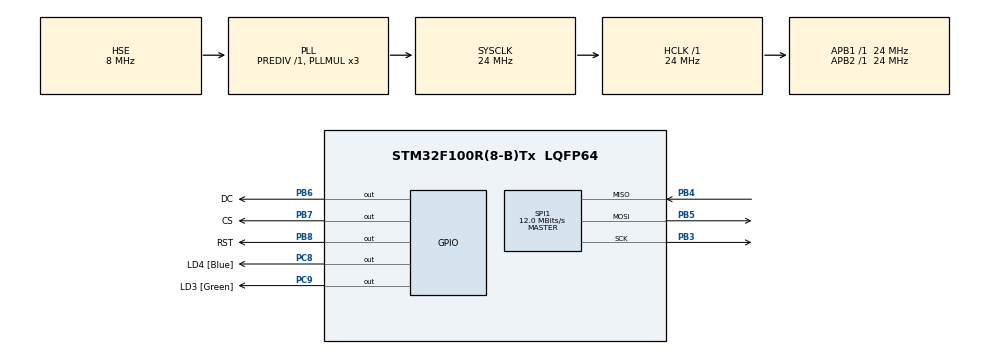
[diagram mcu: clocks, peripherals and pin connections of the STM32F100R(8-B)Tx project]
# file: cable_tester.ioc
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Mcu.Family=STM32F1
Mcu.Name=STM32F100R(8-B)Tx
Mcu.Package=LQFP64
NVIC.PriorityGroup=NVIC_PRIORITYGROUP_4
PA0-WKUP.Signal=SYS_WKUP
PA13.Mode=Serial_Wire
PA13.Signal=SYS_JTMS-SWDIO
PA14.GPIO_Label=TCK_SWCLK
PA14.Mode=Serial_Wire
PA14.Signal=SYS_JTCK-SWCLK
PB3.Mode=Full_Duplex_Master
PB3.Signal=SPI1_SCK
PB4.Mode=Full_Duplex_Master
PB4.Signal=SPI1_MISO
PB5.Mode=Full_Duplex_Master
PB5.Signal=SPI1_MOSI
PB6.GPIO_Label=DC
PB6.Signal=GPIO_Output
PB7.GPIO_Label=CS
PB7.Signal=GPIO_Output
PB8.GPIO_Label=RST
PB8.Signal=GPIO_Output
PC8.GPIO_Label=LD4 [Blue]
PC8.Signal=GPIO_Output
PC9.GPIO_Label=LD3 [Green]
PC9.Signal=GPIO_Output
PD0-OSC_IN.Mode=HSE-External-Oscillator
PD0-OSC_IN.Signal=RCC_OSC_IN
PD1-OSC_OUT.Mode=HSE-External-Oscillator
PD1-OSC_OUT.Signal=RCC_OSC_OUT
ProjectManager.HeapSize=0x200
ProjectManager.StackSize=0x400
ProjectManager.TargetToolchain=SW4STM32
RCC.AHBFreq_Value=24000000
RCC.APB1Freq_Value=24000000
RCC.APB1TimFreq_Value=24000000
RCC.APB2Freq_Value=24000000
RCC.APB2TimFreq_Value=24000000
RCC.HCLKFreq_Value=24000000
RCC.PLLMUL=RCC_PLL_MUL3
RCC.PLLSource=RCC_PLLSOURCE_HSE
RCC.SYSCLKFreq_VALUE=24000000
RCC.SYSCLKSource=RCC_SYSCLKSOURCE_PLLCLK
SPI1.BaudRatePrescaler=SPI_BAUDRATEPRESCALER_2
SPI1.CalculateBaudRate=12.0 MBits/s
SPI1.Direction=SPI_DIRECTION_2LINES
SPI1.FirstBit=SPI_FIRSTBIT_MSB
SPI1.Mode=SPI_MODE_MASTER
SPI1.VirtualType=VM_MASTER
board=STM32VLDISCOVERY

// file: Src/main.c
/**
  ******************************************************************************
  * File Name          : main.c
  * Description        : Main program body
  ******************************************************************************
  ** This notice applies to any and all portions of this file
  * that are not between comment pairs USER CODE BEGIN and
  * USER CODE END. Other portions of this file, whether
  * inserted by the user or by software development tools
  * are owned by their respective copyright owners.
  *
  * COPYRIGHT(c) 2018 STMicroelectronics
  *
  * Redistribution and use in source and binary forms, with or without modification,
  * are permitted provided that the following conditions are met:
  *   1. Redistributions of source code must retain the above copyright notice,
  *      this list of conditions and the following disclaimer.
  *   2. Redistributions in binary form must reproduce the above copyright notice,
  *      this list of conditions and the following disclaimer in the documentation
  *      and/or other materials provided with the distribution.
  *   3. Neither the name of STMicroelectronics nor the names of its contributors
  *      may be used to endorse or promote products derived from this software
  *      without specific prior written permission.
  *
  * THIS SOFTWARE IS PROVIDED BY THE COPYRIGHT HOLDERS AND CONTRIBUTORS "AS IS"
  * AND ANY EXPRESS OR IMPLIED WARRANTIES, INCLUDING, BUT NOT LIMITED TO, THE
  * IMPLIED WARRANTIES OF MERCHANTABILITY AND FITNESS FOR A PARTICULAR PURPOSE ARE
  * DISCLAIMED. IN NO EVENT SHALL THE COPYRIGHT HOLDER OR CONTRIBUTORS BE LIABLE
  * FOR ANY DIRECT, INDIRECT, INCIDENTAL, SPECIAL, EXEMPLARY, OR CONSEQUENTIAL
  * DAMAGES (INCLUDING, BUT NOT LIMITED TO, PROCUREMENT OF SUBSTITUTE GOODS OR
  * SERVICES; LOSS OF USE, DATA, OR PROFITS; OR BUSINESS INTERRUPTION) HOWEVER
  * CAUSED AND ON ANY THEORY OF LIABILITY, WHETHER IN CONTRACT, STRICT LIABILITY,
  * OR TORT (INCLUDING NEGLIGENCE OR OTHERWISE) ARISING IN ANY WAY OUT OF THE USE
  * OF THIS SOFTWARE, EVEN IF ADVISED OF THE POSSIBILITY OF SUCH DAMAGE.
  *
  ******************************************************************************
  */

#include "main.h"
#include "stm32f1xx_hal.h"
#include "ILI9341_STM32_Driver.h"
#include "ILI9341_GFX.h"
#include "stdio.h"

/* USER CODE BEGIN PV */
/* Private variables ---------------------------------------------------------*/
char pins_numbers[79] = {'0','1','0','2','0','3','0','4','0','5','0','6','0','7','0','8','0','9','1','0',
		'1','1','1','2','1','3','1','4','1','5','1','6','1','7','1','8','1','9','2','0',
		'2','1','2','2','2','3','2','4','2','5','2','6','2','7','2','8','2','9','3','0',
		'3','1','3','2','3','3','3','4','3','5','3','6','3','7'};
uint8_t near_connector[37];
uint8_t far_connector[37];

/* USER CODE END PV */

void SystemClock_Config(void);
static void MX_GPIO_Init(void);
static void MX_SPI1_Init(void);

/* USER CODE BEGIN PFP */
/* Private function prototypes -----------------------------------------------*/

/* USER CODE END PFP */

/* USER CODE BEGIN 0 */

void menu1() {
	char local[2];
	uint8_t index;
	uint8_t nearc;
	uint8_t farc;
	for(uint8_t j=0; j<6; j++) {
		for (uint8_t i = 0; i<7; i++) {
			index = j*7+i; if (index>36) break;
			nearc = near_connector[index];
			farc = far_connector[index];
			local[0]=pins_numbers[index*2];
			local[1]=pins_numbers[index*2+1];
			ILI9341_Draw_Text(local, 19+i*30,10+j*35, WHITE, 2, DARKGREEN);
			if (i<6) ILI9341_Draw_Text(" ",40+i*30, 10+j*35, WHITE, 2, DARKGREEN);
			local[0]=pins_numbers[farc*2];
			local[1]=pins_numbers[farc*2+1];
			ILI9341_Draw_Text(local, 19+i*30,25+j*35, WHITE, 2, BLACK);
			if (i<6) ILI9341_Draw_Text(" ",40+i*30, 25+j*35, WHITE, 2, BLACK);
		}
	}

}
/* USER CODE END 0 */

int main(void)
{

  /* MCU Configuration----------------------------------------------------------*/

  /* Reset of all peripherals, Initializes the Flash interface and the Systick. */
  HAL_Init();

  /* Configure the system clock */
  SystemClock_Config();

  /* Initialize all configured peripherals */
  MX_GPIO_Init();
  MX_SPI1_Init();

  /* USER CODE BEGIN 2 */
  	ILI9341_Init();
	ILI9341_Fill_Screen(BLACK);

	ILI9341_Set_Rotation(SCREEN_VERTICAL_1);
	ILI9341_Draw_Hollow_Rectangle_Coord(5,5,234,314,DARKGREY);
	ILI9341_Draw_Hollow_Rectangle_Coord(6,6,233,313,DARKGREY);
	for (uint8_t in=0; in<36; in++) {
		near_connector[in]=in;
		far_connector[in]=36-in;
	}
	menu1();

  /* USER CODE END 2 */

  /* Infinite loop */
  while (1)
  {

  }

}

/** System Clock Configuration
*/
void SystemClock_Config(void)
{

  RCC_OscInitTypeDef RCC_OscInitStruct;
  RCC_ClkInitTypeDef RCC_ClkInitStruct;

    /**Initializes the CPU, AHB and APB busses clocks
    */
  RCC_OscInitStruct.OscillatorType = RCC_OSCILLATORTYPE_HSE;
  RCC_OscInitStruct.HSEState = RCC_HSE_ON;
  RCC_OscInitStruct.HSEPredivValue = RCC_HSE_PREDIV_DIV1;
  RCC_OscInitStruct.PLL.PLLState = RCC_PLL_ON;
  RCC_OscInitStruct.PLL.PLLSource = RCC_PLLSOURCE_HSE;
  RCC_OscInitStruct.PLL.PLLMUL = RCC_PLL_MUL3;
  if (HAL_RCC_OscConfig(&RCC_OscInitStruct) != HAL_OK)
  {
    _Error_Handler(__FILE__, __LINE__);
  }

    /**Initializes the CPU, AHB and APB busses clocks
    */
  RCC_ClkInitStruct.ClockType = RCC_CLOCKTYPE_HCLK|RCC_CLOCKTYPE_SYSCLK
                              |RCC_CLOCKTYPE_PCLK1|RCC_CLOCKTYPE_PCLK2;
  RCC_ClkInitStruct.SYSCLKSource = RCC_SYSCLKSOURCE_PLLCLK;
  RCC_ClkInitStruct.AHBCLKDivider = RCC_SYSCLK_DIV1;
  RCC_ClkInitStruct.APB1CLKDivider = RCC_HCLK_DIV1;
  RCC_ClkInitStruct.APB2CLKDivider = RCC_HCLK_DIV1;

  if (HAL_RCC_ClockConfig(&RCC_ClkInitStruct, FLASH_LATENCY_0) != HAL_OK)
  {
    _Error_Handler(__FILE__, __LINE__);
  }

    /**Configure the Systick interrupt time
    */
  HAL_SYSTICK_Config(HAL_RCC_GetHCLKFreq()/1000);

    /**Configure the Systick
    */
  HAL_SYSTICK_CLKSourceConfig(SYSTICK_CLKSOURCE_HCLK);

  /* SysTick_IRQn interrupt configuration */
  HAL_NVIC_SetPriority(SysTick_IRQn, 0, 0);
}

/* SPI1 init function */
static void MX_SPI1_Init(void)
{

  /* SPI1 parameter configuration*/
  hspi1.Instance = SPI1;
  hspi1.Init.Mode = SPI_MODE_MASTER;
  hspi1.Init.Direction = SPI_DIRECTION_2LINES;
  hspi1.Init.DataSize = SPI_DATASIZE_8BIT;
  hspi1.Init.CLKPolarity = SPI_POLARITY_LOW;
  hspi1.Init.CLKPhase = SPI_PHASE_1EDGE;
  hspi1.Init.NSS = SPI_NSS_SOFT;
  hspi1.Init.BaudRatePrescaler = SPI_BAUDRATEPRESCALER_2;
  hspi1.Init.FirstBit = SPI_FIRSTBIT_MSB;
  hspi1.Init.TIMode = SPI_TIMODE_DISABLE;
  hspi1.Init.CRCCalculation = SPI_CRCCALCULATION_DISABLE;
  hspi1.Init.CRCPolynomial = 10;
  if (HAL_SPI_Init(&hspi1) != HAL_OK)
  {
    _Error_Handler(__FILE__, __LINE__);
  }

}

/** Configure pins as
        * Analog
        * Input
        * Output
        * EVENT_OUT
        * EXTI
*/
static void MX_GPIO_Init(void)
{

  GPIO_InitTypeDef GPIO_InitStruct;

  /* GPIO Ports Clock Enable */
  __HAL_RCC_GPIOD_CLK_ENABLE();
  __HAL_RCC_GPIOA_CLK_ENABLE();
  __HAL_RCC_GPIOC_CLK_ENABLE();
  __HAL_RCC_GPIOB_CLK_ENABLE();

  /*Configure GPIO pin Output Level */
  HAL_GPIO_WritePin(GPIOC, LD4_Pin|LD3_Pin, GPIO_PIN_RESET);

  /*Configure GPIO pin Output Level */
  HAL_GPIO_WritePin(GPIOB, DC_Pin|CS_Pin|RST_Pin, GPIO_PIN_RESET);

  /*Configure GPIO pins : LD4_Pin LD3_Pin */
  GPIO_InitStruct.Pin = LD4_Pin|LD3_Pin;
  GPIO_InitStruct.Mode = GPIO_MODE_OUTPUT_PP;
  GPIO_InitStruct.Speed = GPIO_SPEED_FREQ_LOW;
  HAL_GPIO_Init(GPIOC, &GPIO_InitStruct);

  /*Configure GPIO pins : DC_Pin CS_Pin RST_Pin */
  GPIO_InitStruct.Pin = DC_Pin|CS_Pin|RST_Pin;
  GPIO_InitStruct.Mode = GPIO_MODE_OUTPUT_PP;
  GPIO_InitStruct.Speed = GPIO_SPEED_FREQ_LOW;
  HAL_GPIO_Init(GPIOB, &GPIO_InitStruct);

}

void _Error_Handler(char * file, int line)
{
  while(1)
  {
  }
}

/************************ (C) COPYRIGHT STMicroelectronics *****END OF FILE****/
